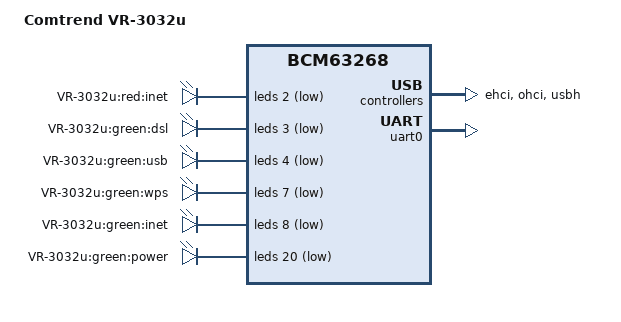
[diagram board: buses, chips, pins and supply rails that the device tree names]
// SPDX-License-Identifier: GPL-2.0+
/*
 * Copyright (C) 2017 Álvaro Fernández Rojas <noltari@gmail.com>
 */

/dts-v1/;

#include "brcm,bcm63268.dtsi"

/ {
	model = "Comtrend VR-3032u";
	compatible = "comtrend,vr-3032u", "brcm,bcm63268";

	aliases {
		serial0 = &uart0;
	};

	chosen {
		stdout-path = "serial0:115200n8";
	};
};

&ehci {
	status = "okay";
};

&leds {
	status = "okay";
	brcm,serial-leds;
	brcm,serial-dat-low;
	brcm,serial-shift-inv;

	led@2 {
		reg = <2>;
		active-low;
		label = "VR-3032u:red:inet";
	};

	led@3 {
		reg = <3>;
		active-low;
		label = "VR-3032u:green:dsl";
	};

	led@4 {
		reg = <4>;
		active-low;
		label = "VR-3032u:green:usb";
	};

	led@7 {
		reg = <7>;
		active-low;
		label = "VR-3032u:green:wps";
	};

	led@8 {
		reg = <8>;
		active-low;
		label = "VR-3032u:green:inet";
	};

	led@20 {
		reg = <20>;
		active-low;
		label = "VR-3032u:green:power";
	};
};

&ohci {
	status = "okay";
};

&uart0 {
	u-boot,dm-pre-reloc;
	status = "okay";
};

&usbh {
	status = "okay";
};
